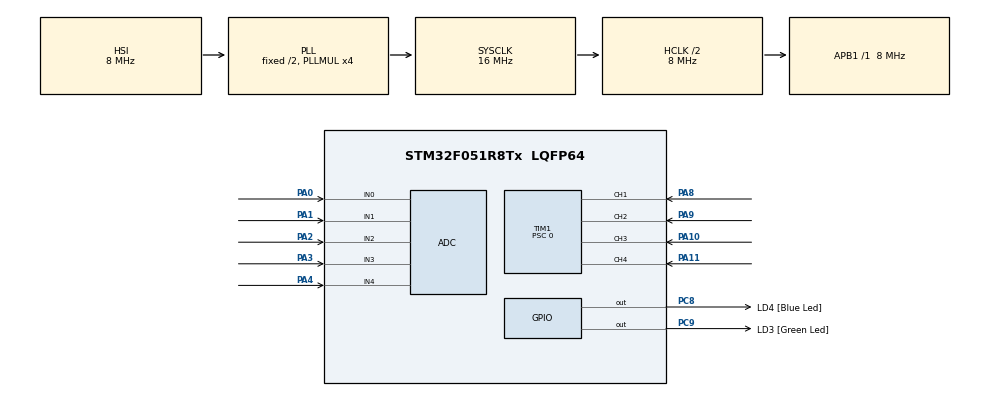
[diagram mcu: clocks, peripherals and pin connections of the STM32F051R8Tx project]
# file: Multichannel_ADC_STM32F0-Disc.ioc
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ADC.ContinuousConvMode=ENABLE
ADC.DMAContinuousRequests=ENABLE
ADC.Overrun=ADC_OVR_DATA_OVERWRITTEN
ADC.SamplingTime=ADC_SAMPLETIME_28CYCLES_5
Dma.ADC.0.Direction=DMA_PERIPH_TO_MEMORY
Dma.ADC.0.Instance=DMA1_Channel1
Dma.ADC.0.MemDataAlignment=DMA_MDATAALIGN_WORD
Dma.ADC.0.MemInc=DMA_MINC_ENABLE
Dma.ADC.0.Mode=DMA_CIRCULAR
Dma.ADC.0.PeriphDataAlignment=DMA_PDATAALIGN_WORD
Dma.ADC.0.PeriphInc=DMA_PINC_DISABLE
Dma.ADC.0.Priority=DMA_PRIORITY_MEDIUM
Dma.Request0=ADC
Mcu.Family=STM32F0
Mcu.Name=STM32F051R8Tx
Mcu.Package=LQFP64
NVIC.DMA1_Channel1_IRQn=true\:0\:0\:false\:false\:true\:false\:true\:true
PA0.Mode=IN0
PA0.Signal=ADC_IN0
PA1.Mode=IN1
PA1.Signal=ADC_IN1
PA10.Signal=S_TIM1_CH3
PA11.Signal=S_TIM1_CH4
PA13.GPIO_Label=SWDIO
PA13.Mode=Serial_Wire
PA13.Signal=SYS_SWDIO
PA14.GPIO_Label=SWCLK
PA14.Mode=Serial_Wire
PA14.Signal=SYS_SWCLK
PA2.Mode=IN2
PA2.Signal=ADC_IN2
PA3.Mode=IN3
PA3.Signal=ADC_IN3
PA4.Mode=IN4
PA4.Signal=ADC_IN4
PA8.Signal=S_TIM1_CH1
PA9.Signal=S_TIM1_CH2
PC8.GPIO_Label=LD4 [Blue Led]
PC8.Signal=GPIO_Output
PC9.GPIO_Label=LD3 [Green Led]
PC9.Signal=GPIO_Output
PF0-OSC_IN.Mode=HSE-External-Clock-Source
PF0-OSC_IN.Signal=RCC_OSC_IN
ProjectManager.HeapSize=0x200
ProjectManager.StackSize=0x400
ProjectManager.TargetToolchain=STM32CubeIDE
RCC.AHBCLKDivider=RCC_SYSCLK_DIV2
RCC.AHBFreq_Value=8000000
RCC.APB1Freq_Value=8000000
RCC.APB1TimFreq_Value=8000000
RCC.HCLKFreq_Value=8000000
RCC.PLLMUL=RCC_PLL_MUL4
RCC.SYSCLKFreq_VALUE=16000000
RCC.SYSCLKSource=RCC_SYSCLKSOURCE_PLLCLK
SH.S_TIM1_CH1.0=TIM1_CH1,Input_Capture1_from_TI1
SH.S_TIM1_CH2.0=TIM1_CH2,Input_Capture2_from_TI2
SH.S_TIM1_CH3.0=TIM1_CH3,Input_Capture3_from_TI3
SH.S_TIM1_CH4.0=TIM1_CH4,Input_Capture4_from_TI4
TIM1.Channel-Input_Capture1_from_TI1=TIM_CHANNEL_1
TIM1.Channel-Input_Capture2_from_TI2=TIM_CHANNEL_2
TIM1.Channel-Input_Capture3_from_TI3=TIM_CHANNEL_3
TIM1.Channel-Input_Capture4_from_TI4=TIM_CHANNEL_4
TIM1.Prescaler=0
TIM1.TIM_MasterOutputTrigger=TIM_TRGO_UPDATE
VP_TIM1_VS_ClockSourceINT.Mode=Internal
board=STM32F0DISCOVERY

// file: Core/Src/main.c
/* USER CODE BEGIN Header */
/**
  ******************************************************************************
  * @file           : main.c
  * @brief          : Main program body
  ******************************************************************************
  * @attention
  *
  * Copyright (c) 2022 STMicroelectronics.
  * All rights reserved.
  *
  * This software is licensed under terms that can be found in the LICENSE file
  * in the root directory of this software component.
  * If no LICENSE file comes with this software, it is provided AS-IS.
  *
  ******************************************************************************
  */
/* USER CODE END Header */
#include "main.h"

/* USER CODE BEGIN Includes */
#include "stdio.h"
#include "string.h"
/* USER CODE END Includes */

 ADC_HandleTypeDef hadc;
DMA_HandleTypeDef hdma_adc;

TIM_HandleTypeDef htim1;

void SystemClock_Config(void);
static void MX_GPIO_Init(void);
static void MX_DMA_Init(void);
static void MX_ADC_Init(void);
static void MX_TIM1_Init(void);

/* USER CODE BEGIN 0 */
uint32_t data[4];
uint16_t ADC_Buffer[4];

char IN0[16] ="";
char IN1[16] ="";
char IN2[16] ="";
char IN3[16] ="";

void HAL_ADC_ConvCpltCallback(ADC_HandleTypeDef* hadc)
{
	if(hadc->Instance == ADC)
	{
		data[0] = ADC_Buffer[0];
		data[1] = ADC_Buffer[1];
		data[2] = ADC_Buffer[2];
		data[3] = ADC_Buffer[3];

	}
}
/* USER CODE END 0 */

int main(void)
{

  /* MCU Configuration--------------------------------------------------------*/

  /* Reset of all peripherals, Initializes the Flash interface and the Systick. */
  HAL_Init();

  /* Configure the system clock */
  SystemClock_Config();

  /* Initialize all configured peripherals */
  MX_GPIO_Init();
  MX_DMA_Init();
  MX_ADC_Init();
  MX_TIM1_Init();
  /* USER CODE BEGIN 2 */
  HAL_TIM_Base_Start_IT(&htim1);
  HAL_ADC_Start_DMA(&hadc, (uint32_t*)ADC_Buffer, 4);
  /* USER CODE END 2 */

  /* Infinite loop */
  while (1)
  {

    /* USER CODE BEGIN 3 */
	  sprintf(IN0," ADC IN0 = %d",ADC_Buffer[0]);
	  sprintf(IN1," ADC IN1 = %d",ADC_Buffer[1]);
	  sprintf(IN2," ADC IN2 = %d",ADC_Buffer[2]);
	  sprintf(IN3," ADC IN3 = %d",ADC_Buffer[3]);
  }
  /* USER CODE END 3 */
}

void SystemClock_Config(void)
{
  RCC_OscInitTypeDef RCC_OscInitStruct = {0};
  RCC_ClkInitTypeDef RCC_ClkInitStruct = {0};

  /** Initializes the RCC Oscillators according to the specified parameters
  * in the RCC_OscInitTypeDef structure.
  */
  RCC_OscInitStruct.OscillatorType = RCC_OSCILLATORTYPE_HSI|RCC_OSCILLATORTYPE_HSI14;
  RCC_OscInitStruct.HSIState = RCC_HSI_ON;
  RCC_OscInitStruct.HSI14State = RCC_HSI14_ON;
  RCC_OscInitStruct.HSICalibrationValue = RCC_HSICALIBRATION_DEFAULT;
  RCC_OscInitStruct.HSI14CalibrationValue = 16;
  RCC_OscInitStruct.PLL.PLLState = RCC_PLL_ON;
  RCC_OscInitStruct.PLL.PLLSource = RCC_PLLSOURCE_HSI;
  RCC_OscInitStruct.PLL.PLLMUL = RCC_PLL_MUL4;
  RCC_OscInitStruct.PLL.PREDIV = RCC_PREDIV_DIV1;
  if (HAL_RCC_OscConfig(&RCC_OscInitStruct) != HAL_OK)
  {
    Error_Handler();
  }

  /** Initializes the CPU, AHB and APB buses clocks
  */
  RCC_ClkInitStruct.ClockType = RCC_CLOCKTYPE_HCLK|RCC_CLOCKTYPE_SYSCLK
                              |RCC_CLOCKTYPE_PCLK1;
  RCC_ClkInitStruct.SYSCLKSource = RCC_SYSCLKSOURCE_PLLCLK;
  RCC_ClkInitStruct.AHBCLKDivider = RCC_SYSCLK_DIV2;
  RCC_ClkInitStruct.APB1CLKDivider = RCC_HCLK_DIV1;

  if (HAL_RCC_ClockConfig(&RCC_ClkInitStruct, FLASH_LATENCY_0) != HAL_OK)
  {
    Error_Handler();
  }
}

static void MX_ADC_Init(void)
{

  ADC_ChannelConfTypeDef sConfig = {0};

  /** Configure the global features of the ADC (Clock, Resolution, Data Alignment and number of conversion)
  */
  hadc.Instance = ADC1;
  hadc.Init.ClockPrescaler = ADC_CLOCK_ASYNC_DIV1;
  hadc.Init.Resolution = ADC_RESOLUTION_12B;
  hadc.Init.DataAlign = ADC_DATAALIGN_RIGHT;
  hadc.Init.ScanConvMode = ADC_SCAN_DIRECTION_FORWARD;
  hadc.Init.EOCSelection = ADC_EOC_SINGLE_CONV;
  hadc.Init.LowPowerAutoWait = DISABLE;
  hadc.Init.LowPowerAutoPowerOff = DISABLE;
  hadc.Init.ContinuousConvMode = ENABLE;
  hadc.Init.DiscontinuousConvMode = DISABLE;
  hadc.Init.ExternalTrigConv = ADC_SOFTWARE_START;
  hadc.Init.ExternalTrigConvEdge = ADC_EXTERNALTRIGCONVEDGE_NONE;
  hadc.Init.DMAContinuousRequests = ENABLE;
  hadc.Init.Overrun = ADC_OVR_DATA_OVERWRITTEN;
  if (HAL_ADC_Init(&hadc) != HAL_OK)
  {
    Error_Handler();
  }

  /** Configure for the selected ADC regular channel to be converted.
  */
  sConfig.Channel = ADC_CHANNEL_0;
  sConfig.Rank = ADC_RANK_CHANNEL_NUMBER;
  sConfig.SamplingTime = ADC_SAMPLETIME_28CYCLES_5;
  if (HAL_ADC_ConfigChannel(&hadc, &sConfig) != HAL_OK)
  {
    Error_Handler();
  }

  /** Configure for the selected ADC regular channel to be converted.
  */
  sConfig.Channel = ADC_CHANNEL_1;
  if (HAL_ADC_ConfigChannel(&hadc, &sConfig) != HAL_OK)
  {
    Error_Handler();
  }

  /** Configure for the selected ADC regular channel to be converted.
  */
  sConfig.Channel = ADC_CHANNEL_2;
  if (HAL_ADC_ConfigChannel(&hadc, &sConfig) != HAL_OK)
  {
    Error_Handler();
  }

  /** Configure for the selected ADC regular channel to be converted.
  */
  sConfig.Channel = ADC_CHANNEL_3;
  if (HAL_ADC_ConfigChannel(&hadc, &sConfig) != HAL_OK)
  {
    Error_Handler();
  }

  /** Configure for the selected ADC regular channel to be converted.
  */
  sConfig.Channel = ADC_CHANNEL_4;
  if (HAL_ADC_ConfigChannel(&hadc, &sConfig) != HAL_OK)
  {
    Error_Handler();
  }

}

static void MX_TIM1_Init(void)
{

  TIM_ClockConfigTypeDef sClockSourceConfig = {0};
  TIM_MasterConfigTypeDef sMasterConfig = {0};
  TIM_IC_InitTypeDef sConfigIC = {0};

  htim1.Instance = TIM1;
  htim1.Init.Prescaler = 0;
  htim1.Init.CounterMode = TIM_COUNTERMODE_UP;
  htim1.Init.Period = 65535;
  htim1.Init.ClockDivision = TIM_CLOCKDIVISION_DIV1;
  htim1.Init.RepetitionCounter = 0;
  htim1.Init.AutoReloadPreload = TIM_AUTORELOAD_PRELOAD_DISABLE;
  if (HAL_TIM_Base_Init(&htim1) != HAL_OK)
  {
    Error_Handler();
  }
  sClockSourceConfig.ClockSource = TIM_CLOCKSOURCE_INTERNAL;
  if (HAL_TIM_ConfigClockSource(&htim1, &sClockSourceConfig) != HAL_OK)
  {
    Error_Handler();
  }
  if (HAL_TIM_IC_Init(&htim1) != HAL_OK)
  {
    Error_Handler();
  }
  sMasterConfig.MasterOutputTrigger = TIM_TRGO_UPDATE;
  sMasterConfig.MasterSlaveMode = TIM_MASTERSLAVEMODE_DISABLE;
  if (HAL_TIMEx_MasterConfigSynchronization(&htim1, &sMasterConfig) != HAL_OK)
  {
    Error_Handler();
  }
  sConfigIC.ICPolarity = TIM_INPUTCHANNELPOLARITY_RISING;
  sConfigIC.ICSelection = TIM_ICSELECTION_DIRECTTI;
  sConfigIC.ICPrescaler = TIM_ICPSC_DIV1;
  sConfigIC.ICFilter = 0;
  if (HAL_TIM_IC_ConfigChannel(&htim1, &sConfigIC, TIM_CHANNEL_1) != HAL_OK)
  {
    Error_Handler();
  }
  if (HAL_TIM_IC_ConfigChannel(&htim1, &sConfigIC, TIM_CHANNEL_2) != HAL_OK)
  {
    Error_Handler();
  }
  if (HAL_TIM_IC_ConfigChannel(&htim1, &sConfigIC, TIM_CHANNEL_3) != HAL_OK)
  {
    Error_Handler();
  }
  if (HAL_TIM_IC_ConfigChannel(&htim1, &sConfigIC, TIM_CHANNEL_4) != HAL_OK)
  {
    Error_Handler();
  }

}

static void MX_DMA_Init(void)
{

  /* DMA controller clock enable */
  __HAL_RCC_DMA1_CLK_ENABLE();

  /* DMA interrupt init */
  /* DMA1_Channel1_IRQn interrupt configuration */
  HAL_NVIC_SetPriority(DMA1_Channel1_IRQn, 0, 0);
  HAL_NVIC_EnableIRQ(DMA1_Channel1_IRQn);

}

static void MX_GPIO_Init(void)
{
  GPIO_InitTypeDef GPIO_InitStruct = {0};

  /* GPIO Ports Clock Enable */
  __HAL_RCC_GPIOF_CLK_ENABLE();
  __HAL_RCC_GPIOA_CLK_ENABLE();
  __HAL_RCC_GPIOC_CLK_ENABLE();

  /*Configure GPIO pin Output Level */
  HAL_GPIO_WritePin(GPIOC, LD4_Pin|LD3_Pin, GPIO_PIN_RESET);

  /*Configure GPIO pins : LD4_Pin LD3_Pin */
  GPIO_InitStruct.Pin = LD4_Pin|LD3_Pin;
  GPIO_InitStruct.Mode = GPIO_MODE_OUTPUT_PP;
  GPIO_InitStruct.Pull = GPIO_NOPULL;
  GPIO_InitStruct.Speed = GPIO_SPEED_FREQ_LOW;
  HAL_GPIO_Init(GPIOC, &GPIO_InitStruct);

}

void Error_Handler(void)
{
  __disable_irq();
  while (1)
  {
  }
}
